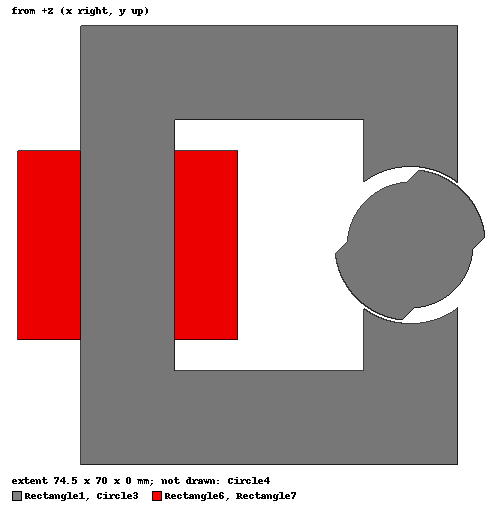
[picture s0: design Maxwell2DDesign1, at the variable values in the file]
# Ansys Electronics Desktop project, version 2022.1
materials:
  vacuum: permittivity=1
  copper: permeability=0.999991 conductivity=58000000
  steel_linear: permittivity=1 permeability{HUnit=A_per_meter BUnit=tesla curve (0, 0) (0.083880524, 100) (0.167761048, 200) (0.251641572, 300) (0.335522095, 400) (0.419402619, 500) (0.503283143, 600) (0.587163667, 700) (0.671044191, 800) (0.754924715, 900) (0.838805239, 1000) (0.922685762, 1100) (1.006566286, 1200) (1.09044681, 1300) (1.174327334, 1400) (1.258207858, 1500) (1.342088382, 1600) (1.425968905, 1700) (1.509849429, 1800) (1.593729953, 1900) (1.677610477, 2000) (1.761491001, 2100) (1.845371525, 2200) (1.929252049, 2300) (2.013132572, 2400) (2.097013096, 2500) (2.18089362, 2600) (2.264774144, 2700) (2.348654668, 2800) (2.432535192, 2900) (2.516415716, 3000) (2.600296239, 3100) (2.684176763, 3200) (2.768057287, 3300) (2.851937811, 3400) (2.935818335, 3500) (3.019698859, 3600) (3.103579382, 3700) (3.187459906, 3800) (3.27134043, 3900) (3.355220954, 4000) (3.439101478, 4100) (3.522982002, 4200) (3.606862526, 4300) (3.690743049, 4400) (3.774623573, 4500) (3.858504097, 4600) (3.942384621, 4700) (4.026265145, 4800) (4.110145669, 4900) (4.194026193, 5000) (4.277906716, 5100) (4.36178724, 5200) (4.445667764, 5300) (4.529548288, 5400) (4.613428812, 5500) (4.697309336, 5600) (4.781189859, 5700) (4.865070383, 5800) (4.948950907, 5900) (5.032831431, 6000) (5.116711955, 6100) (5.200592479, 6200) (5.284473003, 6300) (5.368353526, 6400) (5.45223405, 6500) (5.536114574, 6600) (5.619995098, 6700) (5.703875622, 6800) (5.787756146, 6900) (5.87163667, 7000) (5.955517193, 7100) (6.039397717, 7200) (6.123278241, 7300) (6.207158765, 7400) (6.291039289, 7500) (6.374919813, 7600) (6.458800337, 7700) (6.54268086, 7800) (6.626561384, 7900) (6.710441908, 8000) (6.794322432, 8100) (6.878202956, 8200) (6.96208348, 8300) (7.045964003, 8400) (7.129844527, 8500) (7.213725051, 8600) (7.297605575, 8700) (7.381486099, 8800) (7.465366623, 8900) (7.549247147, 9000) (7.63312767, 9100) (7.717008194, 9200) (7.800888718, 9300) (7.884769242, 9400) (7.968649766, 9500) (8.05253029, 9600) (8.136410814, 9700) (8.220291337, 9800) (8.304171861, 9900) (8.388052385, 10000) (8.471932909, 10100) (8.555813433, 10200) (8.639693957, 10300) (8.72357448, 10400) (8.807455004, 10500) (8.891335528, 10600) (8.975216052, 10700) (9.059096576, 10800) (9.1429771, 10900) (9.226857624, 11000) (9.310738147, 11100) (9.394618671, 11200) (9.478499195, 11300) (9.562379719, 11400) (9.646260243, 11500) (9.730140767, 11600) (9.814021291, 11700) (9.897901814, 11800) (9.981782338, 11900)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} conductivity=2000000 lande_g_factor=2

design Maxwell2DDesign1 (Maxwell 2D, Magnetostatic, XY geometry, model units mm)
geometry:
  Rectangle1 [steel_linear] = rectangle(corner=(0mm, 0mm, 0mm), x_size=60mm, y_size=70mm)
  Rectangle2 = rectangle(corner=(15mm, 15mm, 0mm), x_size=30mm, y_size=40mm)
  Circle1 = circle(normal=Z, centre=(52.5mm, 35mm, 0mm), radius=12.5mm)
  Circle2 = circle(normal=Z, centre=(52.5mm, 35mm, 0mm), radius=12mm)
  Circle3 [steel_linear] = circle(normal=Z, centre=(52.5mm, 35mm, 0mm), radius=10mm)
  Rectangle1.subtract(Rectangle2)
  Rectangle1.subtract(Circle1)
  Rectangle3 = rectangle(corner=(45mm, 25.63mm, 0mm), x_size=15mm, y_size=18.73mm)
  Rectangle4 = rectangle(corner=(45mm, 25.63mm, 0mm), x_size=-5mm, y_size=18.73mm)
  Circle2.subtract(Rectangle4)
  Rectangle5 = rectangle(corner=(60mm, 25.63mm, 0mm), x_size=5mm, y_size=18.73mm)
  Circle2.subtract(Rectangle5)
  Circle3.unite(Rectangle3, Circle2)
  Rectangle6 [copper] = rectangle(corner=(0mm, 20mm, 0mm), x_size=-10mm, y_size=30mm)
  Rectangle7 [copper] = rectangle(corner=(15mm, 20mm, 0mm), x_size=10mm, y_size=30mm)
  [Rectangle1, Circle3, Rectangle6, Rectangle7].move(-52.5mm, -35.000002mm, 0mm)
  Circle3.rotate(axis=Z, angle=-45deg)
  Circle4 [vacuum] = circle(normal=Z, centre=(0mm, 0mm, 0mm), radius=74.330344mm)
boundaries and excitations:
  VectorPotential1: Vector Potential Edges=Circle4.edge(1 of 1) Value=0
  Current1: Current Objects=Rectangle6 Current=750A IsPositive=true
  Current2: Current Objects=Rectangle7 Current=750A IsPositive=false
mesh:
  initial mesh: MeshMethod=AnsoftTAU
